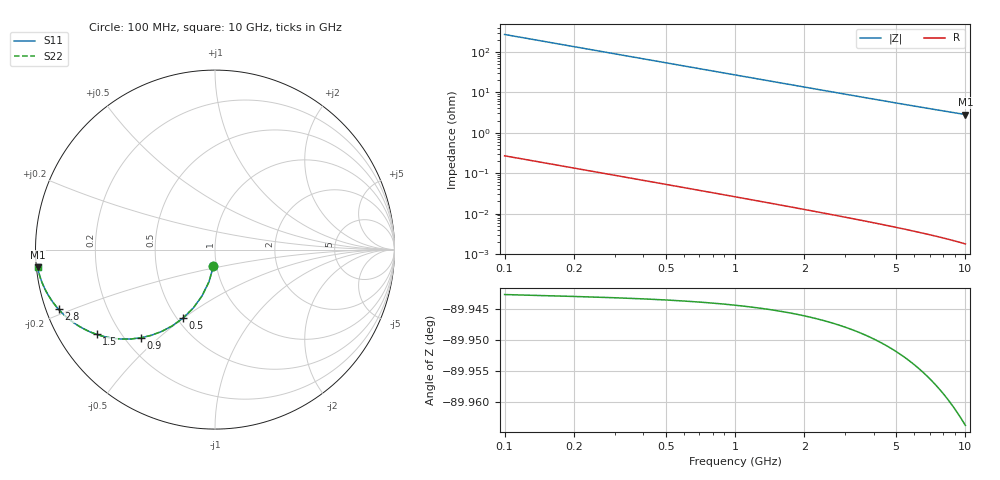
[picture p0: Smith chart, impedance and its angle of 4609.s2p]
# Hz S RI R 50.00
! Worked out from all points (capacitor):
!   100 points, 100 MHz to 10 GHz, reference 50 ohm
!   read as one part in shunt: C = 5.92 pF near 100 MHz
!   lowest |Z| = 2.82 ohm at 10 GHz (marker M1)
!   S11 on the Smith chart (normalised r, x): 100 MHz: 0.97, -0.18; 500 MHz: 0.54, -0.50; 900 MHz: 0.26, -0.44; 1.5 GHz: 0.11, -0.32; 2.8 GHz: 0.04, -0.18; 10 GHz: 0.00, -0.05
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1e8  -0.00862 -0.0921  0.9913 -0.0922  0.9913 -0.0922  -0.00862 -0.0921
2e8  -0.0335 -0.1795  0.9664 -0.1798  0.9664 -0.1798  -0.0335 -0.1795
3e8  -0.0723 -0.2584  0.9276 -0.2588  0.9276 -0.2588  -0.0723 -0.2584
4e8  -0.1217 -0.3262  0.8782 -0.3267  0.8782 -0.3267  -0.1217 -0.3262
5e8  -0.1778 -0.3816  0.8221 -0.3822  0.8221 -0.3822  -0.1778 -0.3816
6e8  -0.2374 -0.4246  0.7625 -0.4254  0.7625 -0.4254  -0.2374 -0.4246
7e8  -0.2976 -0.4563  0.7023 -0.4572  0.7023 -0.4572  -0.2976 -0.4563
8e8  -0.3562 -0.4779  0.6437 -0.4789  0.6437 -0.4789  -0.3562 -0.4779
9e8  -0.4118 -0.4911  0.5881 -0.4922  0.5881 -0.4922  -0.4118 -0.4911
1e9  -0.4635 -0.4975  0.5364 -0.4988  0.5364 -0.4988  -0.4635 -0.4975
1.2e9  -0.5543 -0.4957  0.4456 -0.4973  0.4456 -0.4973  -0.5543 -0.4957
1.5e9  -0.6602 -0.4722  0.3398 -0.4741  0.3398 -0.4741  -0.6602 -0.4722
1.8e9  -0.7366 -0.4388  0.2633 -0.4411  0.2633 -0.4411  -0.7366 -0.4388
2e9  -0.7754 -0.4155  0.2246 -0.4181  0.2246 -0.4181  -0.7754 -0.4155
2.3e9  -0.8203 -0.3819  0.1796 -0.3849  0.1796 -0.3849  -0.8203 -0.3819
2.8e9  -0.8712 -0.3326  0.1287 -0.3363  0.1287 -0.3363  -0.8712 -0.3326
3.4e9  -0.9088 -0.285  0.0911 -0.2895  0.0911 -0.2895  -0.9088 -0.285
4.2e9  -0.9383 -0.2372  0.0616 -0.2427  0.0616 -0.2427  -0.9383 -0.2372
5.1e9  -0.9573 -0.198  0.0425 -0.2048  0.0425 -0.2048  -0.9573 -0.198
6.7e9  -0.9749 -0.1512  0.025 -0.1602  0.025 -0.1602  -0.9749 -0.1512
8.4e9  -0.9839 -0.1192  0.0159 -0.1305  0.0159 -0.1305  -0.9839 -0.1192
1e10  -0.9887 -0.0981  0.0111 -0.1116  0.0111 -0.1116  -0.9887 -0.0981
